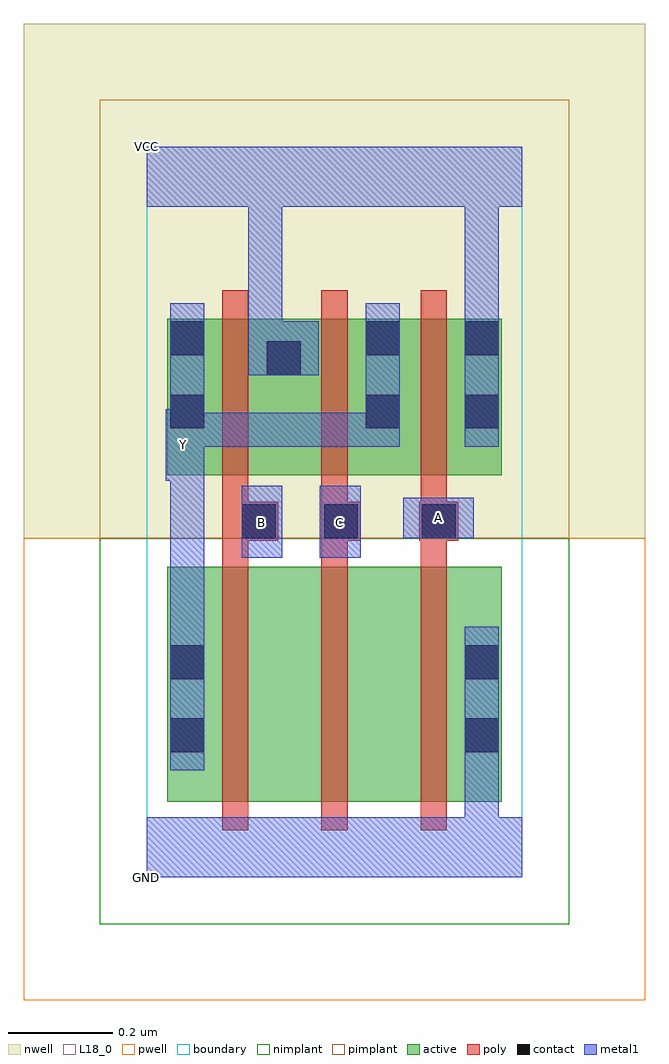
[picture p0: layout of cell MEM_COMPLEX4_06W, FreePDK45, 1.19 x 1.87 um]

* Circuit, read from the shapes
.subckt MEM_COMPLEX4_06W A B C GND VCC Y
M1 n1 B Y VSUBS nfet w=0.45u l=0.05u
M2 n2 C n1 VSUBS nfet w=0.45u l=0.05u
M3 GND A n2 VSUBS nfet w=0.45u l=0.05u
M4 VCC B Y n3 pfet w=0.3u l=0.05u
M5 Y C VCC n3 pfet w=0.3u l=0.05u
M6 VCC A Y n3 pfet w=0.3u l=0.05u
.ends

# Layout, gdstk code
import gdstk
lib = gdstk.Library(unit=1e-6, precision=1e-09)
def R(c, l, rs):  # rectangles x0, y0, x1, y1
    for r in rs: c.add(gdstk.rectangle(r[:2], r[2:], *l))
def A(c, l, x, y, w, h, nx, ny, dx, dy):  # array of equal rectangles
    R(c, l, [(x+i*dx, y+j*dy, x+i*dx+w, y+j*dy+h) for i in range(nx) for j in range(ny)])
active = (1, 0)
pwell = (2, 0)
nwell = (3, 0)
nimplant = (4, 0)
pimplant = (5, 0)
poly = (9, 0)
contact = (10, 0)
metal1 = (11, 0)
L18_0 = (18, 0)
boundary = (235, 0)

mem_complex4_06w = lib.new_cell('MEM_COMPLEX4_06W')
R(mem_complex4_06w, active, [(0.04,0.145,0.265,0.595), (0.04,0.145,0.145,0.595), (0.265,0.145,0.455,0.595), (0.455,0.145,0.68,0.595), (0.605,0.145,0.68,0.595), (0.04,0.77,0.115,1.07), (0.04,0.77,0.3,1.07), (0.225,0.77,0.49,1.07), (0.415,0.77,0.49,1.07), (0.415,0.77,0.68,1.07), (0.605,0.77,0.68,1.07), (0.225,0.887,0.3,1.07)])
R(mem_complex4_06w, pwell, [(-0.235,-0.235,0.955,0.65)])
R(mem_complex4_06w, nwell, [(-0.235,0.65,0.955,1.635)])
R(mem_complex4_06w, nimplant, [(-0.09,-0.09,0.81,0.65)])
R(mem_complex4_06w, pimplant, [(-0.09,0.65,0.81,1.49)])
A(mem_complex4_06w, poly, 0.145, 0.09, 0.05, 0.56, 3, 1, 0.19, 0)
A(mem_complex4_06w, poly, 0.145, 0.6, 0.05, 0.095, 3, 2, 0.19, 0.07)
A(mem_complex4_06w, poly, 0.145, 0.715, 0.05, 0.41, 3, 1, 0.19, 0)
R(mem_complex4_06w, poly, [(0.145,0.645,0.252,0.72), (0.335,0.645,0.41,0.72), (0.522,0.645,0.597,0.72)])
R(mem_complex4_06w, contact, [(0.045,0.24,0.11,0.305), (0.61,0.24,0.675,0.305), (0.045,0.38,0.11,0.445), (0.61,0.38,0.675,0.445), (0.182,0.65,0.247,0.715), (0.34,0.65,0.405,0.715), (0.527,0.65,0.592,0.715), (0.045,0.86,0.11,0.925), (0.42,0.86,0.485,0.925), (0.61,0.86,0.675,0.925), (0.23,0.962,0.295,1.027), (0.045,1,0.11,1.065), (0.42,1,0.485,1.065), (0.61,1,0.675,1.065)])
R(mem_complex4_06w, metal1, [(0,0,0.72,0.115), (0.61,0.05,0.675,0.115), (0.61,0.05,0.675,0.115), (0.61,0.05,0.675,0.27), (0.045,0.205,0.11,0.48), (0.61,0.205,0.675,0.48), (0.045,0.415,0.11,0.825), (0.182,0.612,0.26,0.75), (0.332,0.612,0.41,0.75), (0.492,0.65,0.627,0.727), (0.037,0.76,0.11,0.897), (0.045,0.825,0.11,0.89), (0.045,0.825,0.11,0.89), (0.045,0.825,0.11,0.89), (0.045,0.825,0.11,1.1), (0.045,0.825,0.347,0.89), (0.282,0.825,0.347,0.89), (0.282,0.825,0.347,0.89), (0.282,0.825,0.347,0.89), (0.282,0.825,0.485,0.89), (0.42,0.825,0.485,1.1), (0.61,0.825,0.675,1.1), (0.195,0.962,0.33,1.065), (0.195,1,0.26,1.065), (0.195,1,0.26,1.065), (0.195,1,0.26,1.35), (0.61,1.035,0.675,1.35), (0.61,1.035,0.675,1.1), (0.61,1.035,0.675,1.1), (0,1.285,0.72,1.4), (0.195,1.285,0.26,1.35), (0.195,1.285,0.26,1.35), (0.61,1.285,0.675,1.35), (0.61,1.285,0.675,1.35)])
R(mem_complex4_06w, L18_0, [(0,0,0.72,0.115), (0.61,0.05,0.675,0.115), (0.61,0.05,0.675,0.115), (0.61,0.05,0.675,0.27), (0.045,0.205,0.11,0.48), (0.61,0.205,0.675,0.48), (0.045,0.415,0.11,0.825), (0.182,0.612,0.26,0.75), (0.332,0.612,0.41,0.75), (0.187,0.647,0.252,0.712), (0.337,0.647,0.402,0.712), (0.492,0.65,0.627,0.727), (0.527,0.657,0.592,0.722), (0.037,0.76,0.11,0.897), (0.037,0.797,0.102,0.862), (0.045,0.825,0.11,1.1), (0.045,0.825,0.11,0.89), (0.045,0.825,0.11,0.89), (0.045,0.825,0.11,0.89), (0.045,0.825,0.347,0.89), (0.282,0.825,0.347,0.89), (0.282,0.825,0.347,0.89), (0.282,0.825,0.347,0.89), (0.282,0.825,0.485,0.89), (0.42,0.825,0.485,1.1), (0.61,0.825,0.675,1.1), (0.195,0.962,0.33,1.065), (0.195,1,0.26,1.065), (0.195,1,0.26,1.065), (0.195,1,0.26,1.35), (0.61,1.035,0.675,1.1), (0.61,1.035,0.675,1.1), (0.61,1.035,0.675,1.35), (0,1.285,0.72,1.4), (0.195,1.285,0.26,1.35), (0.195,1.285,0.26,1.35), (0.61,1.285,0.675,1.35), (0.61,1.285,0.675,1.35)])
R(mem_complex4_06w, boundary, [(0,0,0.72,1.4)])
mem_complex4_06w.add(gdstk.Label('A', (0.56,0.69), layer=11, texttype=0))
mem_complex4_06w.add(gdstk.Label('B', (0.22,0.68), layer=11, texttype=0))
mem_complex4_06w.add(gdstk.Label('C', (0.37,0.68), layer=11, texttype=0))
mem_complex4_06w.add(gdstk.Label('Y', (0.07,0.83), layer=11, texttype=0))
mem_complex4_06w.add(gdstk.Label('VCC', (0,1.4), layer=11, texttype=0))
mem_complex4_06w.add(gdstk.Label('GND', (0,0), layer=11, texttype=0))

lib.write_gds('MEM_COMPLEX4_06W.gds')
